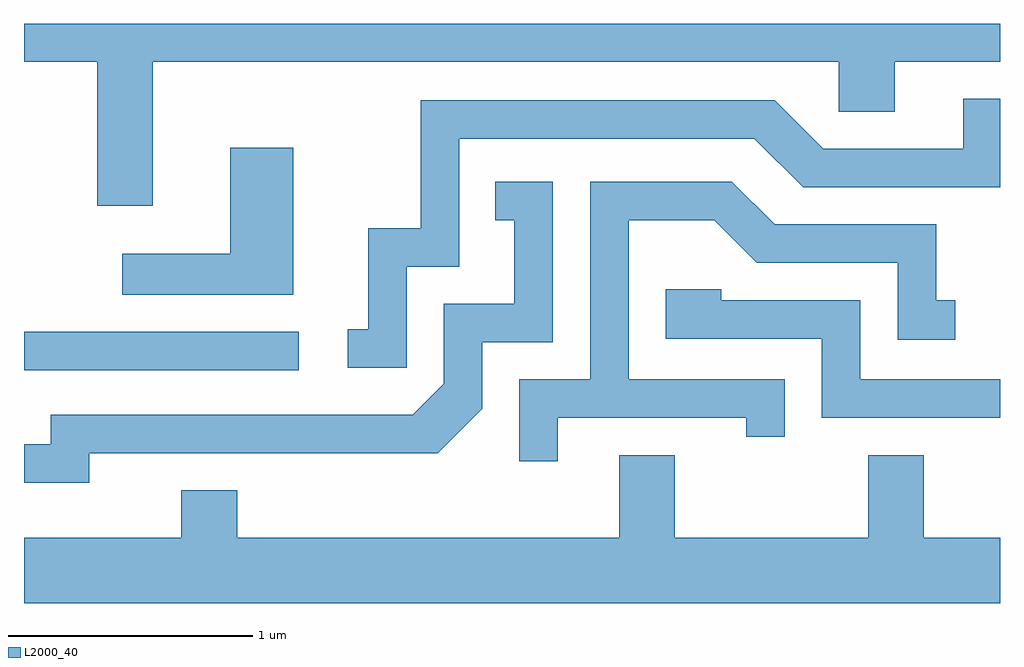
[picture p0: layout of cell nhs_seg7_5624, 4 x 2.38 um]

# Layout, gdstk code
import gdstk
lib = gdstk.Library(unit=1e-6, precision=1e-09)
def R(c, l, rs):  # rectangles x0, y0, x1, y1
    for r in rs: c.add(gdstk.rectangle(r[:2], r[2:], *l))
def P(c, l, *ps):  # polygons
    for p in ps: c.add(gdstk.Polygon(p, *l))
L2000_40 = (2000, 40)

nhs_seg7_5624 = lib.new_cell('nhs_seg7_5624')
R(nhs_seg7_5624, L2000_40, [(357.611,1710.831,358.738,1710.989)])
P(nhs_seg7_5624, L2000_40, [(358.139,1712.096),(360.951,1712.096),(360.951,1711.891),(361.179,1711.891),(361.179,1712.096),(361.611,1712.096),(361.611,1712.252),(357.611,1712.252),(357.611,1712.096),(357.911,1712.096),(357.911,1711.506),(358.139,1711.506)],
  [(359.179,1711.256),(359.394,1711.256),(359.394,1711.781),(360.604,1711.781),(360.804,1711.581),(361.611,1711.581),(361.611,1711.944),(361.461,1711.944),(361.461,1711.739),(360.887,1711.739),(360.687,1711.939),(359.236,1711.939),(359.236,1711.414),(359.021,1711.414),(359.021,1710.999),(358.938,1710.999),(358.938,1710.841),(359.179,1710.841)],
  [(358.714,1711.744),(358.456,1711.744),(358.456,1711.309),(358.013,1711.309),(358.013,1711.141),(358.714,1711.141)],
  [(359.799,1710.636),(360.571,1710.636),(360.571,1710.558),(360.729,1710.558),(360.729,1710.794),(360.089,1710.794),(360.089,1711.446),(360.439,1711.446),(360.614,1711.271),(361.191,1711.271),(361.191,1710.956),(361.428,1710.956),(361.428,1711.119),(361.349,1711.119),(361.349,1711.429),(360.687,1711.429),(360.512,1711.604),(359.931,1711.604),(359.931,1710.794),(359.641,1710.794),(359.641,1710.458),(359.799,1710.458)],
  [(357.879,1710.491),(359.307,1710.491),(359.489,1710.674),(359.489,1710.946),(359.779,1710.946),(359.779,1711.604),(359.543,1711.604),(359.543,1711.446),(359.621,1711.446),(359.621,1711.104),(359.331,1711.104),(359.331,1710.777),(359.204,1710.649),(357.721,1710.649),(357.721,1710.529),(357.611,1710.529),(357.611,1710.371),(357.879,1710.371)],
  [(361.611,1710.794),(361.039,1710.794),(361.039,1711.119),(360.469,1711.119),(360.469,1711.164),(360.241,1711.164),(360.241,1710.961),(360.881,1710.961),(360.881,1710.636),(361.611,1710.636)],
  [(361.611,1710.144),(361.299,1710.144),(361.299,1710.484),(361.071,1710.484),(361.071,1710.144),(360.279,1710.144),(360.279,1710.484),(360.051,1710.484),(360.051,1710.144),(358.484,1710.144),(358.484,1710.339),(358.256,1710.339),(358.256,1710.144),(357.611,1710.144),(357.611,1709.876),(361.611,1709.876)])

lib.write_gds('nhs_seg7_5624.gds')
